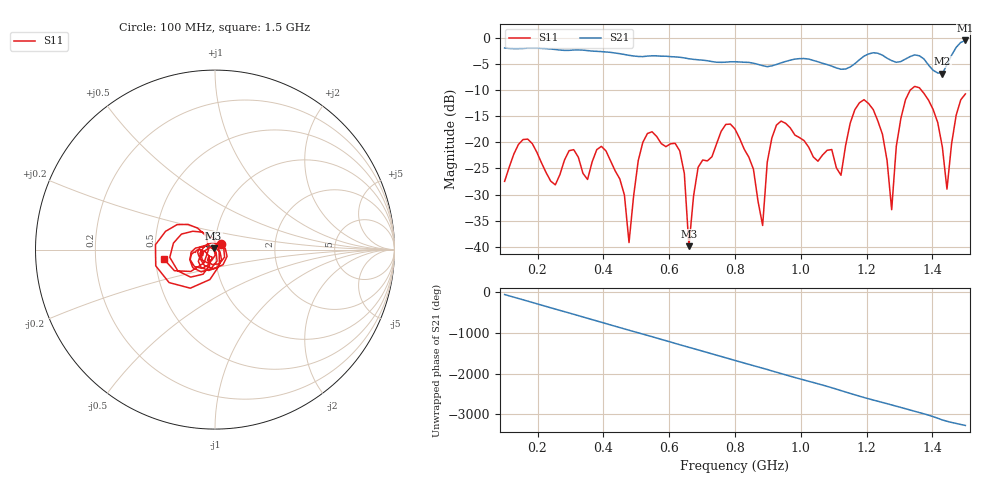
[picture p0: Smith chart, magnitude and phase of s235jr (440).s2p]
! NanoVNA-App
! Date: 2025-09-25 15:07:35
! Start: 100MHz Stop: 1,5GHz Points: 101
! S-Parameter data: F S11 S21 S12 S22
# Hz S RI R 50
!  Frequency  S11_Real  S11_Imag  S21_Real  S21_Imag  S12_Real  S12_Imag  S22_Real  S22_Imag
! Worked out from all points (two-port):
!   101 points, 100 MHz to 1.5 GHz, reference 50 ohm
!   highest |S21| = -0.52 dB at 1.5 GHz (marker M1); lowest = -6.8 dB at 1.43 GHz (marker M2)
!   |S21| within 3 dB of the highest: start of sweep to 496.1 MHz; 1.192 GHz to 1.252 GHz (60.56 MHz wide, 4.96 % of centre) (the widest 2 of 5)
!   lowest |S11| = -39.9 dB at 660 MHz (marker M3), VSWR 1.02, Z = 49.2 + j0.653 ohm
!   |S11| at or under -10 dB: start of sweep to 1.333 GHz; 1.366 GHz to end of sweep
!   S12 and S22 are empty: the file has one direction only
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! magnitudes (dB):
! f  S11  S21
! 100 MHz  -27.5  -2.0
! 156 MHz  -19.5  -2.0
! 338 MHz  -25.9  -2.4
! 408 MHz  -21.6  -2.7
! 478 MHz  -39.2  -3.4
! 520 MHz  -20.0  -3.6
! 576 MHz  -20.2  -3.5
! 632 MHz  -21.6  -3.7
! 660 MHz  -39.9  -4.0
! 688 MHz  -24.8  -4.2
! 800 MHz  -17.5  -4.6
! 884 MHz  -35.9  -5.3
! 926 MHz  -16.7  -5.1
! 1.038 GHz  -22.8  -4.3
! 1.122 GHz  -26.3  -6.0
! 1.192 GHz  -11.8  -3.5
! 1.248 GHz  -18.5  -3.3
! 1.276 GHz  -32.9  -4.4
! 1.332 GHz  -10.0  -3.6
! 1.43 GHz  -20.9  -6.8
! 1.444 GHz  -29.0  -5.2
! 1.5 GHz  -10.7  -0.5
